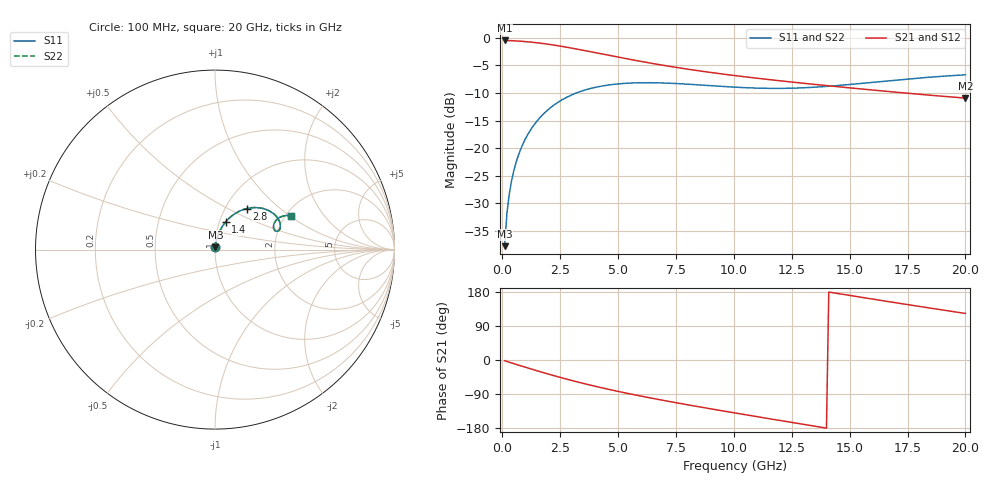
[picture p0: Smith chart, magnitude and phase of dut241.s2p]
! Touchstone file exported from HFSS 2024.1.0
!  File:  C:/UserFiles/LocalFiles/RDL_TSV_Batchsim/temp_RDL_TSV_241_1779453794.aedt
!  Generated:  09:08:20 PM May 22, 2026
!  Design:  RDL_TSV
!  Project:  temp_RDL_TSV_241_1779453794
!  Setup:  Setup1
!  Solution:  Sweep
! Variables:
!  dtsv = 5.11um
!  hbump = 3um
!  htsv = 96.89um
!  ldown = 297.34um
!  lrdl = 591.73um
!  p = 40
!  p1 = 53.08um
!  rhole = 10um
!  subl = 3258.94um
!  t = 450um
!  tdown = 4.77um
!  trdl = 3.08um
!  viad = 10um
!  wdown = 14.61um
!  wrdl = 12.53um
!  xbump = 18um
# GHz S MA R 50.000000
! Terminal data exported
! Port[1] = TM1_1_T1
! Port[2] = TM1_4_T1
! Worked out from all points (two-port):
!   200 points, 100 MHz to 20 GHz, reference 50 ohm
!   highest |S21| = -0.48 dB at 100 MHz (marker M1); lowest = -10.9 dB at 20 GHz (marker M2)
!   |S21| within 3 dB of the highest: start of sweep to 4.978 GHz
!   lowest |S11| = -37.8 dB at 100 MHz (marker M3), VSWR 1.03, Z = 50.2 + j1.28 ohm
!   |S11| at or under -10 dB: start of sweep to 3.204 GHz
!   |S22| runs from -37.8 to -6.7 dB; largest |S21 - S12| = 9e-15
!   S11 on the Smith chart (normalised r, x): 100 MHz: 1.00, +0.03; 1.4 GHz: 1.07, +0.34; 2.8 GHz: 1.26, +0.63; 20 GHz: 2.13, +1.01
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0.1  0.01291 81.1  0.9457 -2.0  0.9457 -2.0  0.01292 81.1
! Gamma 0 0 0 0
! Port Impedance 50 0 50 0
0.2  0.02559 82.9  0.9446 -3.9  0.9446 -3.9  0.02561 82.9
0.3  0.03815 82.4  0.943 -5.9  0.943 -5.9  0.03819 82.4
0.4  0.05054 81.4  0.9411 -7.8  0.9411 -7.8  0.05061 81.4
0.5  0.06276 80.2  0.9388 -9.7  0.9388 -9.7  0.06285 80.3
0.7  0.08671 77.8  0.9336 -13.5  0.9336 -13.5  0.08685 77.8
0.9  0.11 75.3  0.9272 -17.3  0.9272 -17.3  0.1102 75.3
1.4  0.1655 69.0  0.9062 -26.6  0.9062 -26.6  0.1658 69.0
2  0.2251 61.5  0.873 -37.3  0.873 -37.3  0.2257 61.5
2.8  0.2902 52.1  0.8198 -50.8  0.8198 -50.8  0.291 52.1
3.5  0.3325 44.6  0.77 -61.8  0.77 -61.8  0.3335 44.6
4.2  0.3619 38.0  0.7207 -72.0  0.7207 -72.0  0.363 38.0
5.1  0.3835 30.9  0.6619 -84.2  0.6619 -84.2  0.3846 30.8
5.9  0.391 25.9  0.6155 -94.2  0.6155 -94.2  0.392 25.7
6.8  0.3901 21.5  0.57 -104.8  0.57 -104.8  0.3909 21.4
8.4  0.3752 17.1  0.505 -122.5  0.505 -122.5  0.3757 16.9
10.1  0.3561 16.7  0.4527 -140.3  0.4527 -140.3  0.3562 16.5
11.7  0.3477 19.2  0.4138 -156.7  0.4138 -156.7  0.3474 19.0
13.4  0.3556 23.0  0.3795 -173.8  0.3795 -173.8  0.355 22.8
16.7  0.4079 26.5  0.3255 153.9  0.3255 153.9  0.4071 26.4
18.3  0.4366 25.7  0.3038 138.7  0.3038 138.7  0.4359 25.7
20  0.4617 23.9  0.2839 122.9  0.2839 122.9  0.461 23.8
